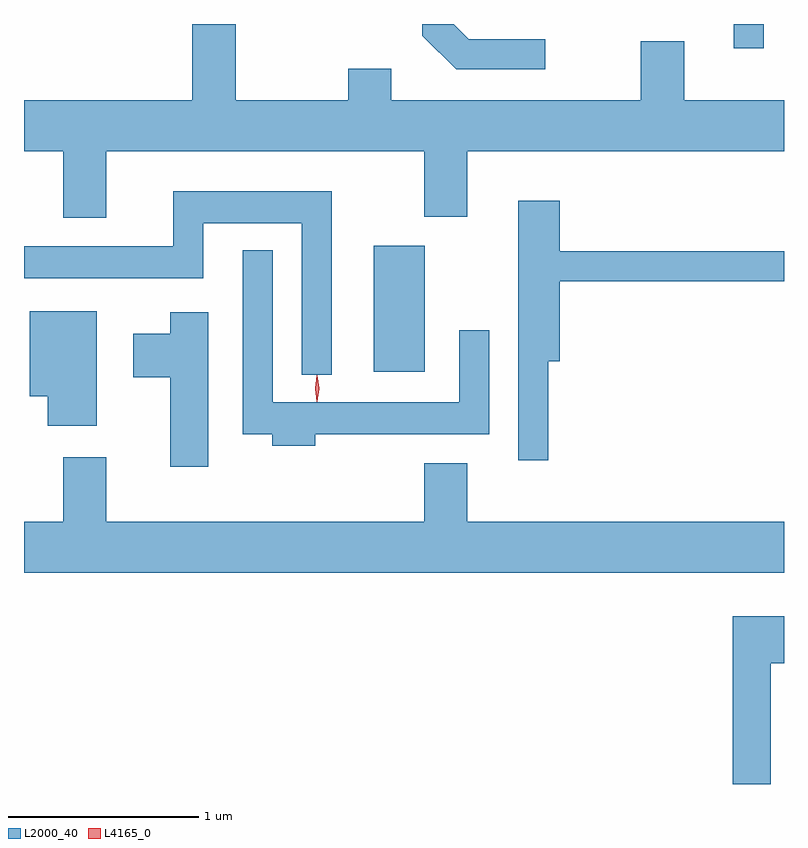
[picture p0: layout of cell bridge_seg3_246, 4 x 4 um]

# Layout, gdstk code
import gdstk
lib = gdstk.Library(unit=1e-6, precision=1e-09)
def R(c, l, rs):  # rectangles x0, y0, x1, y1
    for r in rs: c.add(gdstk.rectangle(r[:2], r[2:], *l))
def P(c, l, *ps):  # polygons
    for p in ps: c.add(gdstk.Polygon(p, *l))
L2000_40 = (2000, 40)
L4165_0 = (4165, 0)

bridge_seg3_246 = lib.new_cell('bridge_seg3_246')
R(bridge_seg3_246, L2000_40, [(988.556,1144.836,988.824,1145.499), (990.451,1146.538,990.609,1146.665)])
P(bridge_seg3_246, L2000_40, [(987.149,1145.996),(988.821,1145.996),(988.821,1145.651),(989.049,1145.651),(989.049,1145.996),(990.715,1145.996),(990.715,1146.264),(990.189,1146.264),(990.189,1146.574),(989.961,1146.574),(989.961,1146.264),(988.649,1146.264),(988.649,1146.429),(988.421,1146.429),(988.421,1146.264),(987.829,1146.264),(987.829,1146.665),(987.601,1146.665),(987.601,1146.264),(986.715,1146.264),(986.715,1145.996),(986.921,1145.996),(986.921,1145.646),(987.149,1145.646)],
  [(989.458,1146.584),(989.057,1146.584),(988.976,1146.665),(988.811,1146.665),(988.811,1146.604),(988.989,1146.426),(989.458,1146.426)],
  [(988.334,1145.784),(987.501,1145.784),(987.501,1145.494),(986.715,1145.494),(986.715,1145.326),(987.659,1145.326),(987.659,1145.616),(988.176,1145.616),(988.176,1144.818),(988.334,1144.818)],
  [(989.474,1144.891),(989.534,1144.891),(989.534,1145.311),(990.715,1145.311),(990.715,1145.469),(989.534,1145.469),(989.534,1145.734),(989.316,1145.734),(989.316,1144.368),(989.474,1144.368)],
  [(988.249,1144.506),(989.164,1144.506),(989.164,1145.053),(989.006,1145.053),(989.006,1144.674),(988.024,1144.674),(988.024,1145.473),(987.866,1145.473),(987.866,1144.506),(988.021,1144.506),(988.021,1144.446),(988.249,1144.446)],
  [(987.099,1145.154),(986.746,1145.154),(986.746,1144.706),(986.841,1144.706),(986.841,1144.551),(987.099,1144.551)],
  [(987.684,1145.149),(987.486,1145.149),(987.486,1145.034),(987.291,1145.034),(987.291,1144.806),(987.486,1144.806),(987.486,1144.336),(987.684,1144.336)],
  [(990.715,1144.044),(989.049,1144.044),(989.049,1144.354),(988.821,1144.354),(988.821,1144.044),(987.149,1144.044),(987.149,1144.384),(986.921,1144.384),(986.921,1144.044),(986.715,1144.044),(986.715,1143.776),(990.715,1143.776)],
  [(990.644,1143.301),(990.715,1143.301),(990.715,1143.549),(990.446,1143.549),(990.446,1142.665),(990.644,1142.665)])
P(bridge_seg3_246, L4165_0, [(988.258,1144.679),(988.257,1144.68),(988.248,1144.746),(988.257,1144.812),(988.258,1144.813),(988.258,1144.812),(988.268,1144.746),(988.258,1144.68)],
  [(988.257,1144.677),(988.248,1144.747),(988.257,1144.816),(988.258,1144.816),(988.258,1144.816),(988.268,1144.747),(988.258,1144.677),(988.258,1144.677)])

lib.write_gds('bridge_seg3_246.gds')
